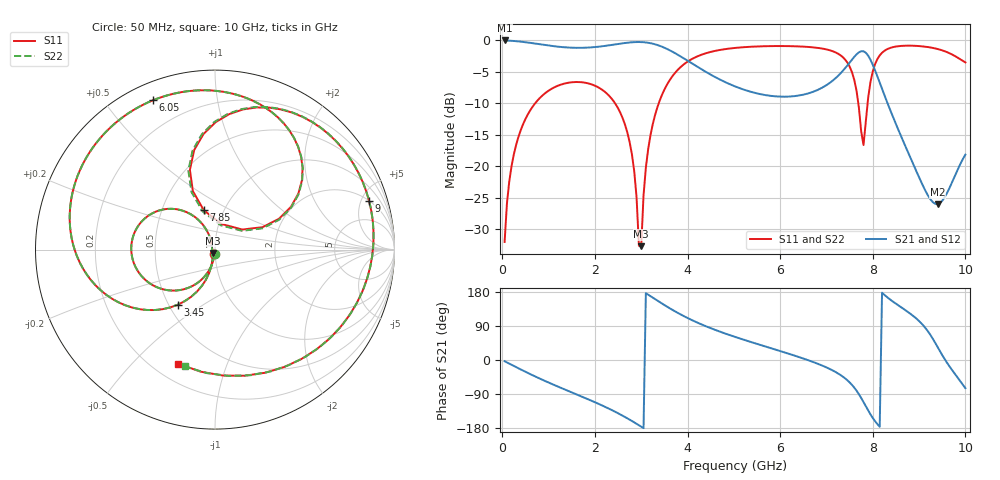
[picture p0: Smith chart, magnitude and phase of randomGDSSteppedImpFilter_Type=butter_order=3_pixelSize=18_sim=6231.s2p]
! freq	dB(S11)	phase(S11)	dB(S12)	phase(S12)
!  dB(S21)	phase(S21)	dB(S22)	phase(S22)
!S-par simulation data
#  GHz  S  DB  R 50
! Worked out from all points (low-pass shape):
!   200 points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, 50 MHz to 10 GHz, reference 50 ohm
!   highest |S21| = -0.02 dB at 50 MHz (marker M1); lowest = -26.0 dB at 9.4 GHz (marker M2)
!   |S21| within 3 dB of the highest: start of sweep to 3.953 GHz; 7.556 GHz to 7.945 GHz (389 MHz wide, 5.02 % of centre)
!   lowest |S11| = -32.7 dB at 3 GHz (marker M3), VSWR 1.05, Z = 48.7 - j1.88 ohm
!   |S11| at or under -10 dB: start of sweep to 710 MHz; 2.434 GHz to 3.379 GHz (944.7 MHz wide, 32.5 % of centre); 7.687 GHz to 7.889 GHz (201.2 MHz wide, 2.58 % of centre)
!   |S22| runs from -32.6 to -0.8 dB; largest |S21 - S12| = 0
!   S11 on the Smith chart (normalised r, x): 50 MHz: 0.99, -0.05; 3.45 GHz: 0.56, -0.40; 6.05 GHz: 0.08, +0.66; 7.85 GHz: 0.81, +0.37; 9 GHz: 2.00, +5.77; 10 GHz: 0.30, -0.68
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0.05  -32.03 -96.9  -0.02 -3.3  -0.02 -3.3  -32.12 -96.4
0.2  -19.98 -103.7  -0.08 -12.7  -0.08 -12.7  -19.98 -103.6
0.5  -12.50 -121.6  -0.30 -31.1  -0.30 -31.1  -12.50 -121.6
1.75  -6.69 171.5  -1.18 -98.3  -1.18 -98.3  -6.69 171.5
2.65  -13.40 121.6  -0.42 -150.4  -0.42 -150.4  -13.40 121.7
3  -32.70 -123.8  -0.27 -175.9  -0.27 -175.9  -32.59 -124.7
3.15  -17.28 -104.1  -0.38 172.4  -0.38 172.4  -17.28 -104.3
3.4  -9.55 -120.4  -0.87 152.7  -0.87 152.7  -9.55 -120.5
3.45  -8.64 -124.0  -1.01 148.8  -1.01 148.8  -8.63 -124.0
4.25  -2.43 -174.4  -4.37 96.6  -4.37 96.6  -2.43 -174.4
5.05  -1.19 149.9  -7.39 60.0  -7.39 60.0  -1.19 150.0
6.05  -0.91 112.7  -8.95 21.7  -8.95 21.7  -0.91 112.7
6.7  -1.11 86.9  -8.21 -4.7  -8.21 -4.7  -1.11 86.9
7.5  -4.16 38.5  -3.54 -59.1  -3.54 -59.1  -4.18 38.2
7.8  -16.64 75.7  -1.74 -111.1  -1.74 -111.1  -17.13 76.5
7.85  -12.87 105.9  -1.97 -122.2  -1.97 -122.2  -13.06 107.8
8  -4.94 101.8  -3.88 -152.9  -3.88 -152.9  -4.95 102.8
8.35  -1.28 64.8  -10.58 161.8  -10.58 161.8  -1.28 65.5
9  -0.91 17.7  -21.76 102.8  -21.76 102.8  -0.90 18.5
9.4  -1.38 -15.9  -26.02 34.2  -26.02 34.2  -1.35 -14.6
9.75  -2.39 -59.5  -21.93 -32.7  -21.93 -32.7  -2.33 -57.3
10  -3.51 -108.0  -18.16 -74.3  -18.16 -74.3  -3.45 -104.6
